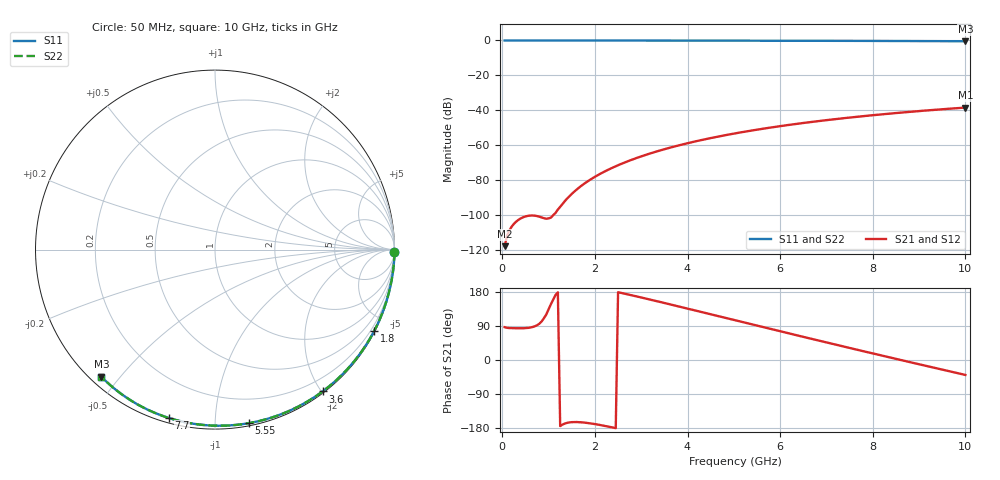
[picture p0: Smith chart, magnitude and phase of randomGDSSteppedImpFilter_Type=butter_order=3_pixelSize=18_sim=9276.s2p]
! freq	dB(S11)	phase(S11)	dB(S12)	phase(S12)
!  dB(S21)	phase(S21)	dB(S22)	phase(S22)
!S-par simulation data
#  GHz  S  DB  R 50
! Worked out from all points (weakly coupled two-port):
!   200 points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, 50 MHz to 10 GHz, reference 50 ohm
!   highest |S21| = -38.39 dB at 10 GHz (marker M1); lowest = -117.7 dB at 50 MHz (marker M2)
!   lowest |S11| = -0.4 dB at 10 GHz (marker M3), VSWR 38.95, Z = 1.54 - j22.3 ohm
!   |S11| at or under -10 dB: nowhere
!   |S22| runs from -0.4 to 0.0 dB; largest |S21 - S12| = 0
!   S11 on the Smith chart (normalised r, x): 50 MHz: open; 1.8 GHz: 0.04, -4.16; 3.6 GHz: 0.02, -2.01; 5.55 GHz: 0.02, -1.22; 7.7 GHz: 0.02, -0.76; 10 GHz: 0.03, -0.45
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0.05  -0.00 -0.8  -117.65 86.6  -117.65 86.6  -0.00 -0.8
0.9  -0.02 -13.6  -101.66 110.4  -101.66 110.4  -0.02 -13.6
1.75  -0.03 -26.3  -82.28 -164.9  -82.28 -164.9  -0.03 -26.3
1.8  -0.03 -27.0  -81.34 -165.6  -81.34 -165.6  -0.03 -27.0
1.85  -0.04 -27.7  -80.45 -166.3  -80.45 -166.3  -0.04 -27.7
1.9  -0.04 -28.5  -79.59 -167.2  -79.59 -167.2  -0.04 -28.5
2.05  -0.04 -30.7  -77.21 -170.2  -77.21 -170.2  -0.04 -30.7
2.25  -0.04 -33.6  -74.41 -174.8  -74.41 -174.8  -0.04 -33.6
2.45  -0.05 -36.5  -71.93 -179.8  -71.93 -179.8  -0.05 -36.5
2.65  -0.05 -39.4  -69.71 174.8  -69.71 174.8  -0.05 -39.4
3  -0.06 -44.4  -66.30 165.0  -66.30 165.0  -0.06 -44.4
3.4  -0.07 -50.0  -62.96 153.4  -62.96 153.4  -0.07 -50.0
3.6  -0.07 -52.8  -61.47 147.5  -61.47 147.5  -0.07 -52.8
4.3  -0.09 -62.4  -56.96 126.7  -56.96 126.7  -0.09 -62.4
5.05  -0.11 -72.4  -53.04 104.2  -53.04 104.2  -0.11 -72.4
5.55  -0.13 -78.9  -50.80 89.3  -50.80 89.3  -0.13 -78.9
6.1  -0.15 -85.9  -48.63 72.9  -48.63 72.9  -0.15 -85.9
6.7  -0.18 -93.3  -46.53 55.2  -46.53 55.2  -0.18 -93.3
7.7  -0.24 -105.3  -43.54 26.0  -43.54 26.0  -0.24 -105.3
8.35  -0.29 -113.0  -41.88 7.3  -41.88 7.3  -0.29 -113.0
9.15  -0.36 -122.2  -40.06 -15.5  -40.06 -15.5  -0.36 -122.2
10  -0.45 -131.8  -38.39 -39.5  -38.39 -39.5  -0.45 -131.8
